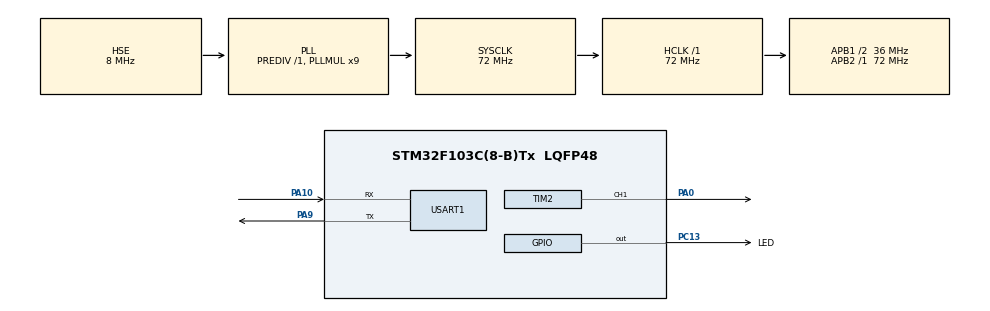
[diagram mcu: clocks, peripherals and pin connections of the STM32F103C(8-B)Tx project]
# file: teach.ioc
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Dma.Request0=USART1_RX
Dma.Request1=USART1_TX
Dma.USART1_RX.0.Direction=DMA_PERIPH_TO_MEMORY
Dma.USART1_RX.0.Instance=DMA1_Channel5
Dma.USART1_RX.0.MemDataAlignment=DMA_MDATAALIGN_BYTE
Dma.USART1_RX.0.MemInc=DMA_MINC_ENABLE
Dma.USART1_RX.0.Mode=DMA_NORMAL
Dma.USART1_RX.0.PeriphDataAlignment=DMA_PDATAALIGN_BYTE
Dma.USART1_RX.0.PeriphInc=DMA_PINC_DISABLE
Dma.USART1_RX.0.Priority=DMA_PRIORITY_LOW
Dma.USART1_TX.1.Direction=DMA_MEMORY_TO_PERIPH
Dma.USART1_TX.1.Instance=DMA1_Channel4
Dma.USART1_TX.1.MemDataAlignment=DMA_MDATAALIGN_BYTE
Dma.USART1_TX.1.MemInc=DMA_MINC_ENABLE
Dma.USART1_TX.1.Mode=DMA_NORMAL
Dma.USART1_TX.1.PeriphDataAlignment=DMA_PDATAALIGN_BYTE
Dma.USART1_TX.1.PeriphInc=DMA_PINC_DISABLE
Dma.USART1_TX.1.Priority=DMA_PRIORITY_LOW
Mcu.Family=STM32F1
Mcu.Name=STM32F103C(8-B)Tx
Mcu.Package=LQFP48
NVIC.DMA1_Channel4_IRQn=true\:0\:0\:false\:false\:true\:false\:true\:true
NVIC.DMA1_Channel5_IRQn=true\:0\:0\:false\:false\:true\:false\:true\:true
NVIC.PriorityGroup=NVIC_PRIORITYGROUP_4
NVIC.TIM1_UP_IRQn=true\:0\:0\:false\:false\:true\:true\:true\:true
NVIC.USART1_IRQn=true\:0\:0\:false\:false\:true\:false\:true\:true
PA0-WKUP.Signal=S_TIM2_CH1_ETR
PA10.Mode=Asynchronous
PA10.Signal=USART1_RX
PA13.Mode=Serial_Wire
PA13.Signal=SYS_JTMS-SWDIO
PA14.Mode=Serial_Wire
PA14.Signal=SYS_JTCK-SWCLK
PA9.Mode=Asynchronous
PA9.Signal=USART1_TX
PC13-TAMPER-RTC.GPIO_Label=LED
PC13-TAMPER-RTC.Signal=GPIO_Output
PD0-OSC_IN.Mode=HSE-External-Oscillator
PD0-OSC_IN.Signal=RCC_OSC_IN
PD1-OSC_OUT.Mode=HSE-External-Oscillator
PD1-OSC_OUT.Signal=RCC_OSC_OUT
ProjectManager.HeapSize=0x200
ProjectManager.StackSize=0x400
ProjectManager.TargetToolchain=CMake
RCC.AHBFreq_Value=72000000
RCC.APB1CLKDivider=RCC_HCLK_DIV2
RCC.APB1Freq_Value=36000000
RCC.APB1TimFreq_Value=72000000
RCC.APB2Freq_Value=72000000
RCC.APB2TimFreq_Value=72000000
RCC.HCLKFreq_Value=72000000
RCC.PLLMUL=RCC_PLL_MUL9
RCC.PLLSourceVirtual=RCC_PLLSOURCE_HSE
RCC.SYSCLKFreq_VALUE=72000000
RCC.SYSCLKSource=RCC_SYSCLKSOURCE_PLLCLK
RCC.USBFreq_Value=72000000
SH.S_TIM2_CH1_ETR.0=TIM2_CH1,PWM Generation1 CH1
TIM1.Period=20000-1
TIM1.Prescaler=7200-1
TIM2.Channel-PWM\ Generation1\ CH1=TIM_CHANNEL_1
TIM2.Period=2000-1
TIM2.Prescaler=720-1
USART1.VirtualMode=VM_ASYNC
VP_TIM1_VS_ClockSourceINT.Mode=Internal
VP_TIM2_VS_ClockSourceINT.Mode=Internal
board=custom

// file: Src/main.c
/* USER CODE BEGIN Header */
/**
  ******************************************************************************
  * @file           : main.c
  * @brief          : Main program body
  ******************************************************************************
  * @attention
  *
  * Copyright (c) 2025 STMicroelectronics.
  * All rights reserved.
  *
  * This software is licensed under terms that can be found in the LICENSE file
  * in the root directory of this software component.
  * If no LICENSE file comes with this software, it is provided AS-IS.
  *
  ******************************************************************************
  */
/* USER CODE END Header */
#include "main.h"
#include "dma.h"
#include "stm32f1xx_hal.h"
#include "tim.h"
#include "usart.h"
#include "gpio.h"

/* USER CODE BEGIN Includes */
#include <string.h>
#include <stdlib.h>
#include <stdio.h>

/* USER CODE END Includes */

/* USER CODE BEGIN PV */
uint8_t rx_buffer[20];  // 接收缓冲区
uint8_t rx_data;
volatile uint8_t rx_flag = 0;  // 接收完成标志
volatile uint8_t rx_index = 0;  // 接收索引
char command_str[20];  // 命令字符串

/* USER CODE END PV */

void SystemClock_Config(void);
/* USER CODE BEGIN PFP */
void parse_servo_command(char* cmd);
void set_servo_angle(uint16_t angle);

/* USER CODE END PFP */

/* USER CODE BEGIN 0 */
// volatile int Output_Compare =0;

/* USER CODE END 0 */

int main(void)
{

  /* MCU Configuration--------------------------------------------------------*/

  /* Reset of all peripherals, Initializes the Flash interface and the Systick. */
  HAL_Init();

  /* Configure the system clock */
  SystemClock_Config();

  /* Initialize all configured peripherals */
  MX_GPIO_Init();
  MX_DMA_Init();
  MX_TIM1_Init();
  MX_TIM2_Init();
  MX_USART1_UART_Init();
  /* USER CODE BEGIN 2 */
  HAL_TIM_Base_Start_IT(&htim1);
  HAL_TIM_PWM_Start(&htim2,TIM_CHANNEL_1 );

  set_servo_angle(90);
  // memset(rx_buffer, 0, sizeof(rx_buffer));
  // memset(command_str, 0, sizeof(command_str));

  // HAL_UARTEx_ReceiveToIdle_DMA(&huart1, rx_buffer, sizeof(rx_buffer));
  // char welcome[] = "Servo Control Ready. Send 'servo:X' where X=0-180\r\n";
  // HAL_UART_Transmit(&huart1, (uint8_t*)welcome, strlen(welcome),100);

  HAL_UART_Receive_IT(&huart1, &rx_data[0], 1);

  /* USER CODE END 2 */

  /* Infinite loop */
  while (1)
  {

    /* USER CODE BEGIN 3 */
    if(rx_flag) {
        rx_flag = 0;

        parse_servo_command(command_str);
    }
    HAL_Delay(10);
  }
  /* USER CODE END 3 */
}

void SystemClock_Config(void)
{
  RCC_OscInitTypeDef RCC_OscInitStruct = {0};
  RCC_ClkInitTypeDef RCC_ClkInitStruct = {0};

  /** Initializes the RCC Oscillators according to the specified parameters
  * in the RCC_OscInitTypeDef structure.
  */
  RCC_OscInitStruct.OscillatorType = RCC_OSCILLATORTYPE_HSE;
  RCC_OscInitStruct.HSEState = RCC_HSE_ON;
  RCC_OscInitStruct.HSEPredivValue = RCC_HSE_PREDIV_DIV1;
  RCC_OscInitStruct.HSIState = RCC_HSI_ON;
  RCC_OscInitStruct.PLL.PLLState = RCC_PLL_ON;
  RCC_OscInitStruct.PLL.PLLSource = RCC_PLLSOURCE_HSE;
  RCC_OscInitStruct.PLL.PLLMUL = RCC_PLL_MUL9;
  if (HAL_RCC_OscConfig(&RCC_OscInitStruct) != HAL_OK)
  {
    Error_Handler();
  }

  /** Initializes the CPU, AHB and APB buses clocks
  */
  RCC_ClkInitStruct.ClockType = RCC_CLOCKTYPE_HCLK|RCC_CLOCKTYPE_SYSCLK
                              |RCC_CLOCKTYPE_PCLK1|RCC_CLOCKTYPE_PCLK2;
  RCC_ClkInitStruct.SYSCLKSource = RCC_SYSCLKSOURCE_PLLCLK;
  RCC_ClkInitStruct.AHBCLKDivider = RCC_SYSCLK_DIV1;
  RCC_ClkInitStruct.APB1CLKDivider = RCC_HCLK_DIV2;
  RCC_ClkInitStruct.APB2CLKDivider = RCC_HCLK_DIV1;

  if (HAL_RCC_ClockConfig(&RCC_ClkInitStruct, FLASH_LATENCY_2) != HAL_OK)
  {
    Error_Handler();
  }
}

/* USER CODE BEGIN 4 */
// void HAL_TIM_PeriodElapsedCallback(TIM_HandleTypeDef *htim){
//   if(htim == &htim1){
//     HAL_GPIO_TogglePin(LED_GPIO_Port, LED_Pin);
//     HAL_UART_Transmit(&huart1, "hello world", sizeof("hello world"), HAL_MAX_DELAY);

//   }
// }

// void HAL_UARTEx_RxEventCallback(UART_HandleTypeDef *huart, uint16_t Size)
// {
//     if(huart == &huart1){
//         if(Size < sizeof(rx_buffer)) {
//             rx_buffer[Size] = '\0';
//         } else {
//             rx_buffer[sizeof(rx_buffer)-1] = '\0';
//         }

//         strncpy(command_str, (char*)rx_buffer, sizeof(command_str)-1);
//         command_str[sizeof(command_str)-1] = '\0';
//         rx_flag = 1;  // 设置接收完成标志

//         HAL_UARTEx_ReceiveToIdle_DMA(&huart1, rx_buffer, sizeof(rx_buffer));
//     }
// }

void HAL_UART_RxCpltCallback(UART_HandleTypeDef *huart)
{
    if(huart == &huart1) {

        if(rx_data[0] == '\r' || rx_data[0] == '\n' || rx_index >= sizeof(rx_buffer)-1) {
            if(rx_index > 0) {
                rx_buffer[rx_index] = '\0';
                strncpy(command_str, (char*)rx_buffer, sizeof(command_str)-1);
                command_str[sizeof(command_str)-1] = '\0';
                rx_flag = 1;
                rx_index = 0;
            }
        } else {
            rx_buffer[rx_index++] = rx_data[0];
        }
        HAL_UART_Receive_IT(&huart1, &rx_data[0], 1);
    }
}

void parse_servo_command(char* cmd)
{
    char* prefix = "servo:";
    char* angle_str;
    uint16_t angle;

    if(strncmp(cmd, prefix, strlen(prefix)) == 0) {

        angle_str = cmd + strlen(prefix);
        angle = atoi(angle_str);

        if(angle <= 180) {
            set_servo_angle(angle);
        }
    }
}

void set_servo_angle(uint16_t angle)
{

    uint32_t pulse_width;

    pulse_width = 50 + (angle * 200) / 180;

    __HAL_TIM_SET_COMPARE(&htim2, TIM_CHANNEL_1, pulse_width);
}
/* USER CODE END 4 */

void Error_Handler(void)
{
  __disable_irq();
  while (1)
  {
  }
}
